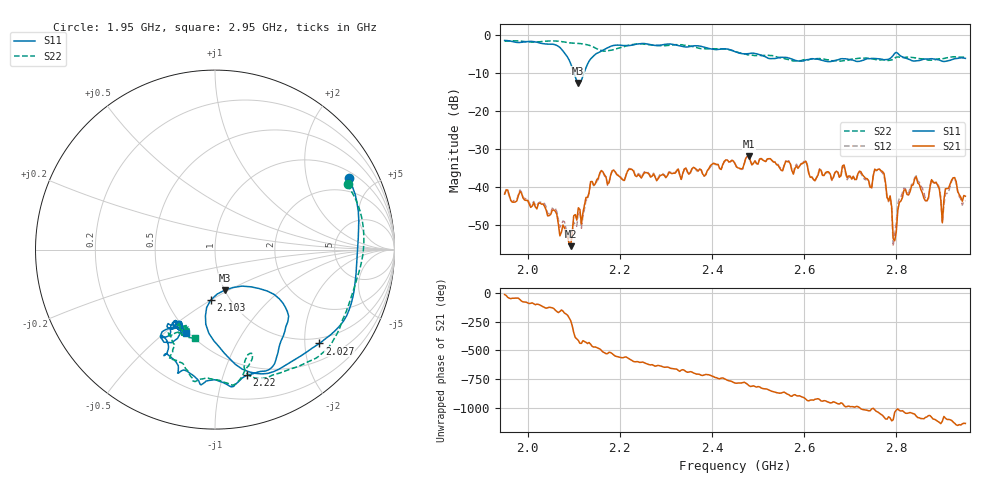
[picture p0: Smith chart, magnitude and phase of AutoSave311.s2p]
!Agilent N9923A: A.07.32
!Date: Thursday, 02 June 2016 23:49:40
!Model: N9923A
!Serial: MY52412257
!GPS Latitude:
!GPS Longitude:
!GPS TimeStamp: 0001-01-01 00:00:00Z
!GPS Seconds Since Last Read: 0
!CHECKSUM:1403358189
!Correction: S11(ON U)S21(ON U)S12(ON U)S22(ON U)
!S2P File: Measurements:S11,S21,S12,S22:
# Hz S DB R 50
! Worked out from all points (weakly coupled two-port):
!   301 points, 1.95 GHz to 2.95 GHz, reference 50 ohm
!   highest |S21| = -31.85 dB at 2.48 GHz (marker M1); lowest = -55.5 dB at 2.093 GHz (marker M2)
!   lowest |S11| = -12.7 dB at 2.11 GHz (marker M3), VSWR 1.61, Z = 50 - j23.9 ohm
!   |S11| at or under -10 dB: 2.101 GHz to 2.122 GHz (21.68 MHz wide, 1.03 % of centre)
!   |S22| runs from -6.9 to -1.5 dB; largest |S21 - S12| = 0.0015
!   S11 on the Smith chart (normalised r, x): 1.95 GHz: 1.29, +3.56; 2.027 GHz: 0.86, -2.33; 2.103 GHz: 0.82, -0.50; 2.22 GHz: 0.41, -1.20; 2.95 GHz: 0.49, -0.60
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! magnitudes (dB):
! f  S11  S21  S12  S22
! 1.95 GHz  -1.5  -41.8  -41.8  -1.7
! 2.027 GHz  -2.1  -44.2  -43.9  -1.8
! 2.093 GHz  -7.6  -55.5  -55.4  -2.1
! 2.103 GHz  -11.0  -47.2  -49.8  -2.3
! 2.11 GHz  -12.7  -45.4  -46.5  -2.3
! 2.12 GHz  -10.8  -46.7  -47.7  -2.4
! 2.16 GHz  -4.2  -35.7  -35.7  -4.1
! 2.22 GHz  -2.8  -35.3  -35.1  -2.7
! 2.287 GHz  -2.7  -37.1  -36.8  -2.9
! 2.453 GHz  -4.6  -34.7  -34.6  -4.5
! 2.48 GHz  -4.9  -31.8  -31.9  -5.3
! 2.62 GHz  -6.3  -38.0  -37.8  -6.3
! 2.763 GHz  -6.3  -35.2  -35.3  -6.6
! 2.783 GHz  -6.4  -43.6  -43.8  -6.7
! 2.79 GHz  -5.9  -45.2  -45.8  -6.6
! 2.793 GHz  -5.4  -53.6  -55.5  -6.5
! 2.807 GHz  -5.3  -44.0  -42.8  -5.9
! 2.843 GHz  -6.8  -37.3  -37.0  -6.1
! 2.89 GHz  -6.5  -39.6  -39.2  -6.3
! 2.9 GHz  -6.9  -49.4  -49.3  -6.3
! 2.923 GHz  -6.4  -37.6  -37.7  -5.8
! 2.95 GHz  -6.2  -42.4  -43.6  -5.9
